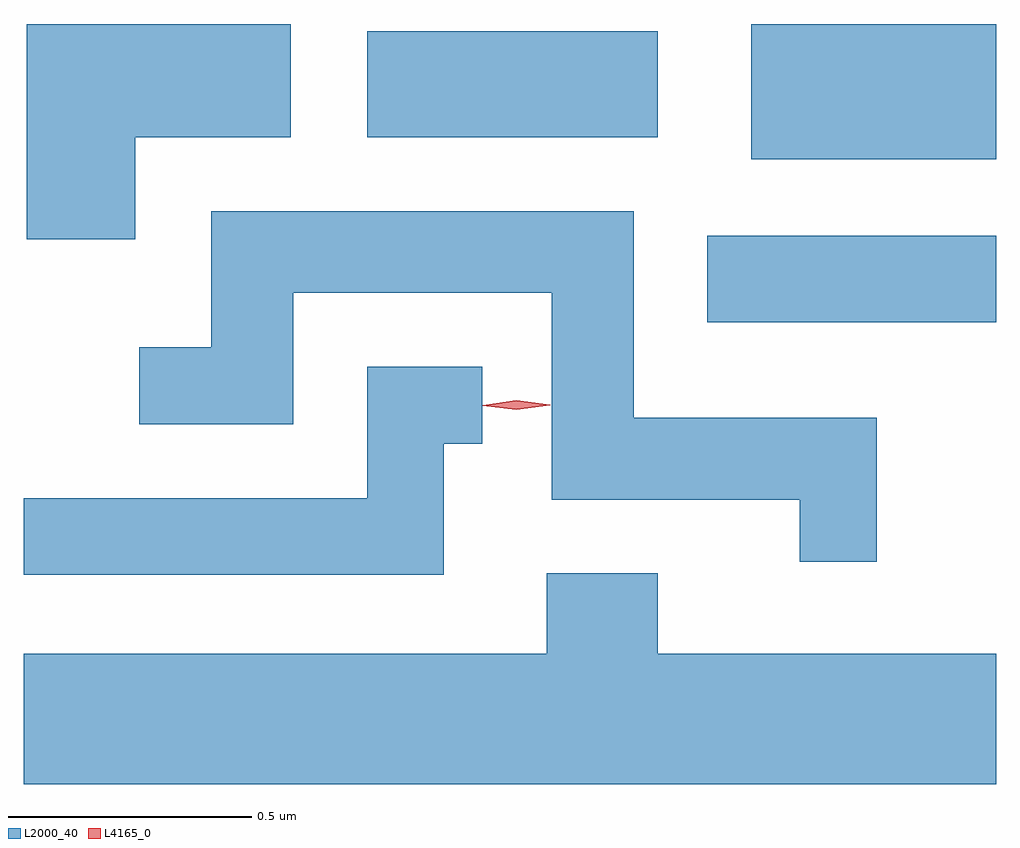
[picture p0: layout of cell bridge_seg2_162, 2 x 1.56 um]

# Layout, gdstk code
import gdstk
lib = gdstk.Library(unit=1e-6, precision=1e-09)
def R(c, l, rs):  # rectangles x0, y0, x1, y1
    for r in rs: c.add(gdstk.rectangle(r[:2], r[2:], *l))
def P(c, l, *ps):  # polygons
    for p in ps: c.add(gdstk.Polygon(p, *l))
L2000_40 = (2000, 40)
L4165_0 = (4165, 0)

bridge_seg2_162 = lib.new_cell('bridge_seg2_162')
R(bridge_seg2_162, L2000_40, [(680.361,1075.906,680.955,1076.084), (680.451,1076.241,680.955,1076.519), (679.661,1076.286,680.259,1076.504)])
P(bridge_seg2_162, L2000_40, [(679.184,1076.286),(679.504,1076.286),(679.504,1076.519),(678.961,1076.519),(678.961,1076.076),(679.184,1076.076)],
  [(680.709,1075.709),(680.209,1075.709),(680.209,1076.134),(679.341,1076.134),(679.341,1075.854),(679.193,1075.854),(679.193,1075.696),(679.509,1075.696),(679.509,1075.966),(680.041,1075.966),(680.041,1075.541),(680.551,1075.541),(680.551,1075.413),(680.709,1075.413)],
  [(679.819,1075.656),(679.898,1075.656),(679.898,1075.814),(679.661,1075.814),(679.661,1075.544),(678.955,1075.544),(678.955,1075.386),(679.819,1075.386)],
  [(680.955,1075.224),(680.259,1075.224),(680.259,1075.389),(680.031,1075.389),(680.031,1075.224),(678.955,1075.224),(678.955,1074.956),(680.955,1074.956)])
P(bridge_seg2_162, L4165_0, [(679.968,1075.726),(679.899,1075.734),(679.899,1075.735),(679.899,1075.735),(679.968,1075.745),(680.038,1075.736),(680.038,1075.736),(680.038,1075.735)])

lib.write_gds('bridge_seg2_162.gds')
